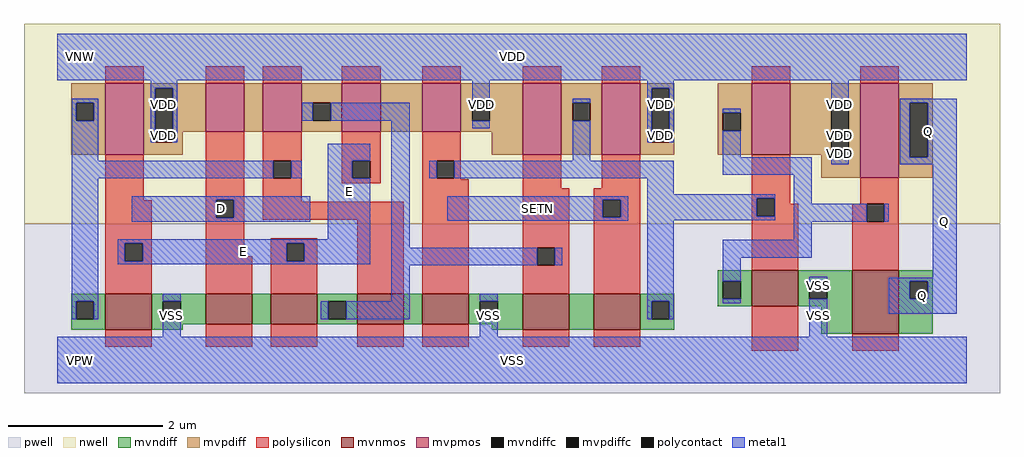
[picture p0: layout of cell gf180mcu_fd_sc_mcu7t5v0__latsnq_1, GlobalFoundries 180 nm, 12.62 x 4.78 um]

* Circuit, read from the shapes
.subckt gf180mcu_fd_sc_mcu7t5v0__latsnq_1 D E SETN Q VDD VNW VPW VSS
XM1 VSS E n1 VPW nfet_06v0 w=0.465u l=0.6u
XM2 n2 D VSS VPW nfet_06v0 w=0.395u l=0.6u
XM3 n3 E n2 VPW nfet_06v0 w=0.395u l=0.6u
XM4 n4 n1 n3 VPW nfet_06v0 w=0.395u l=0.6u
XM5 VSS n5 n4 VPW nfet_06v0 w=0.395u l=0.6u
XM6 n6 n3 VSS VPW nfet_06v0 w=0.465u l=0.6u
XM7 n5 SETN n6 VPW nfet_06v0 w=0.465u l=0.6u
XM8 VSS n5 n7 VPW nfet_06v0 w=0.465u l=0.6u
XM9 Q n7 VSS VPW nfet_06v0 w=0.82u l=0.6u
XM10 VDD E n1 VNW pfet_06v0 w=0.925u l=0.5u
XM11 n8 D VDD VNW pfet_06v0 w=0.63u l=0.5u
XM12 n3 n1 n8 VNW pfet_06v0 w=0.63u l=0.5u
XM13 n9 E n3 VNW pfet_06v0 w=0.63u l=0.5u
XM14 VDD n5 n9 VNW pfet_06v0 w=0.63u l=0.5u
XM15 n5 n3 VDD VNW pfet_06v0 w=0.925u l=0.5u
XM16 VDD SETN n5 VNW pfet_06v0 w=0.925u l=0.5u
XM17 VDD n5 n7 VNW pfet_06v0 w=0.925u l=0.5u
XM18 Q n7 VDD VNW pfet_06v0 w=1.22u l=0.5u
.ends

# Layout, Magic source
magic
tech gf180mcuD
magscale 1 10
<< nwell >>
rect -86 352 2438 870
<< pwell >>
rect -86 -86 2438 352
<< mvnmos >>
rect 124 79 244 172
rect 384 93 504 172
rect 552 93 672 172
rect 776 93 896 172
rect 944 93 1064 172
rect 1204 79 1324 172
rect 1388 79 1508 172
rect 1796 139 1916 232
rect 2056 68 2176 232
<< mvpmos >>
rect 124 531 224 716
rect 384 590 484 716
rect 532 590 632 716
rect 736 590 836 716
rect 944 590 1044 716
rect 1204 531 1304 716
rect 1408 531 1508 716
rect 1796 531 1896 716
rect 2076 472 2176 716
<< mvndiff >>
rect 1708 204 1796 232
rect 36 152 124 172
rect 36 106 49 152
rect 95 106 124 152
rect 36 79 124 106
rect 244 152 384 172
rect 244 106 273 152
rect 319 106 384 152
rect 244 93 384 106
rect 504 93 552 172
rect 672 152 776 172
rect 672 106 701 152
rect 747 106 776 152
rect 672 93 776 106
rect 896 93 944 172
rect 1064 152 1204 172
rect 1064 106 1093 152
rect 1139 106 1204 152
rect 1064 93 1204 106
rect 244 79 324 93
rect 1124 79 1204 93
rect 1324 79 1388 172
rect 1508 152 1596 172
rect 1508 106 1537 152
rect 1583 106 1596 152
rect 1708 158 1721 204
rect 1767 158 1796 204
rect 1708 139 1796 158
rect 1916 204 2056 232
rect 1916 158 1945 204
rect 1991 158 2056 204
rect 1916 139 2056 158
rect 1508 79 1596 106
rect 1976 68 2056 139
rect 2176 204 2264 232
rect 2176 158 2205 204
rect 2251 158 2264 204
rect 2176 68 2264 158
<< mvpdiff >>
rect 36 665 124 716
rect 36 619 49 665
rect 95 619 124 665
rect 36 531 124 619
rect 224 703 384 716
rect 224 563 253 703
rect 299 590 384 703
rect 484 590 532 716
rect 632 665 736 716
rect 632 619 661 665
rect 707 619 736 665
rect 632 590 736 619
rect 836 590 944 716
rect 1044 665 1204 716
rect 1044 619 1073 665
rect 1119 619 1204 665
rect 1044 590 1204 619
rect 299 563 324 590
rect 224 531 324 563
rect 1124 531 1204 590
rect 1304 665 1408 716
rect 1304 619 1333 665
rect 1379 619 1408 665
rect 1304 531 1408 619
rect 1508 703 1596 716
rect 1508 563 1537 703
rect 1583 563 1596 703
rect 1508 531 1596 563
rect 1708 639 1796 716
rect 1708 593 1721 639
rect 1767 593 1796 639
rect 1708 531 1796 593
rect 1896 665 2076 716
rect 1896 531 2001 665
rect 1976 525 2001 531
rect 2047 525 2076 665
rect 1976 472 2076 525
rect 2176 665 2264 716
rect 2176 525 2205 665
rect 2251 525 2264 665
rect 2176 472 2264 525
<< mvndiffc >>
rect 49 106 95 152
rect 273 106 319 152
rect 701 106 747 152
rect 1093 106 1139 152
rect 1537 106 1583 152
rect 1721 158 1767 204
rect 1945 158 1991 204
rect 2205 158 2251 204
<< mvpdiffc >>
rect 49 619 95 665
rect 253 563 299 703
rect 661 619 707 665
rect 1073 619 1119 665
rect 1333 619 1379 665
rect 1537 563 1583 703
rect 1721 593 1767 639
rect 2001 525 2047 665
rect 2205 525 2251 665
<< polysilicon >>
rect 124 716 224 760
rect 384 716 484 760
rect 532 716 632 760
rect 736 716 836 760
rect 944 716 1044 760
rect 1204 716 1304 760
rect 1408 716 1508 760
rect 1796 716 1896 760
rect 2076 716 2176 760
rect 124 413 224 531
rect 384 414 484 590
rect 124 302 244 413
rect 124 256 175 302
rect 221 256 244 302
rect 124 172 244 256
rect 384 368 411 414
rect 457 368 484 414
rect 384 268 484 368
rect 532 516 632 590
rect 532 470 559 516
rect 605 470 632 516
rect 532 409 632 470
rect 736 516 836 590
rect 736 470 763 516
rect 809 470 836 516
rect 736 457 836 470
rect 944 516 1044 590
rect 944 470 981 516
rect 1027 470 1044 516
rect 944 467 1044 470
rect 532 363 896 409
rect 552 302 672 315
rect 384 172 504 268
rect 552 256 593 302
rect 639 256 672 302
rect 552 172 672 256
rect 776 172 896 363
rect 944 172 1064 467
rect 1204 444 1304 531
rect 1408 444 1508 531
rect 1204 291 1324 444
rect 1204 245 1241 291
rect 1287 245 1324 291
rect 1204 172 1324 245
rect 1388 415 1508 444
rect 1388 369 1411 415
rect 1457 369 1508 415
rect 1388 172 1508 369
rect 1796 418 1896 531
rect 1796 372 1809 418
rect 1855 404 1896 418
rect 2076 404 2176 472
rect 1855 372 1916 404
rect 1796 232 1916 372
rect 2056 358 2093 404
rect 2139 358 2176 404
rect 2056 232 2176 358
rect 124 35 244 79
rect 384 35 504 93
rect 552 35 672 93
rect 776 35 896 93
rect 944 35 1064 93
rect 1204 35 1324 79
rect 1388 35 1508 79
rect 1796 24 1916 139
rect 2056 24 2176 68
<< polycontact >>
rect 175 256 221 302
rect 411 368 457 414
rect 559 470 605 516
rect 763 470 809 516
rect 981 470 1027 516
rect 593 256 639 302
rect 1241 245 1287 291
rect 1411 369 1457 415
rect 1809 372 1855 418
rect 2093 358 2139 404
<< metal1 >>
rect 0 724 2352 844
rect 242 703 310 724
rect 38 665 106 676
rect 38 619 49 665
rect 95 619 106 665
rect 38 516 106 619
rect 242 563 253 703
rect 299 563 310 703
rect 1073 665 1119 724
rect 1526 703 1594 724
rect 632 619 661 665
rect 707 619 912 665
rect 700 516 809 559
rect 38 470 559 516
rect 605 470 632 516
rect 700 470 763 516
rect 38 152 106 470
rect 193 414 654 424
rect 193 368 411 414
rect 457 368 654 414
rect 193 358 654 368
rect 700 312 809 470
rect 156 302 809 312
rect 156 256 175 302
rect 221 256 593 302
rect 639 256 809 302
rect 156 248 809 256
rect 864 291 912 619
rect 1073 600 1119 619
rect 1333 665 1379 676
rect 1333 516 1379 619
rect 1526 563 1537 703
rect 1583 563 1594 703
rect 2001 665 2047 724
rect 1721 639 1767 650
rect 1721 525 1767 593
rect 962 470 981 516
rect 1027 470 1594 516
rect 1721 479 1951 525
rect 2001 506 2047 525
rect 2179 665 2326 676
rect 2179 525 2205 665
rect 2251 525 2326 665
rect 2179 506 2326 525
rect 1526 429 1594 470
rect 1008 415 1476 424
rect 1008 369 1411 415
rect 1457 369 1476 415
rect 1008 360 1476 369
rect 1526 418 1857 429
rect 1526 372 1809 418
rect 1855 372 1857 418
rect 1526 361 1857 372
rect 1905 404 1951 479
rect 864 245 1241 291
rect 1287 245 1306 291
rect 38 106 49 152
rect 95 106 106 152
rect 273 152 319 172
rect 864 152 912 245
rect 682 106 701 152
rect 747 106 912 152
rect 1093 152 1139 172
rect 1526 152 1594 361
rect 1905 358 2093 404
rect 2139 358 2150 404
rect 1905 311 1951 358
rect 1526 106 1537 152
rect 1583 106 1594 152
rect 1721 265 1951 311
rect 1721 204 1767 265
rect 1721 147 1767 158
rect 1945 204 1991 215
rect 2264 213 2326 506
rect 273 60 319 106
rect 1093 60 1139 106
rect 1945 60 1991 158
rect 2150 204 2326 213
rect 2150 158 2205 204
rect 2251 158 2326 204
rect 2150 120 2326 158
rect 0 -60 2352 60
<< labels >>
flabel metal1 s 2179 506 2326 676 0 FreeSans 400 0 0 0 Q
port 4 nsew default output
flabel metal1 s 1945 172 1991 215 0 FreeSans 400 0 0 0 VSS
port 8 nsew ground bidirectional abutment
flabel metal1 s 1008 360 1476 424 0 FreeSans 400 0 0 0 SETN
port 3 nsew default input
flabel metal1 s 0 724 2352 844 0 FreeSans 400 0 0 0 VDD
port 5 nsew power bidirectional abutment
flabel metal1 s 193 358 654 424 0 FreeSans 400 0 0 0 D
port 1 nsew default input
flabel metal1 s 700 312 809 559 0 FreeSans 400 0 0 0 E
port 2 nsew clock input
flabel nwell s 10 734 110 834 0 FreeSans 400 0 0 0 VNW
port 6 nsew power bidirectional
flabel pwell s 10 -50 110 50 0 FreeSans 400 0 0 0 VPW
port 7 nsew ground bidirectional
rlabel metal1 s 156 248 809 312 1 E
port 2 nsew clock input
rlabel metal1 s 2264 213 2326 506 1 Q
port 4 nsew default output
rlabel metal1 s 2150 120 2326 213 1 Q
port 4 nsew default output
rlabel metal1 s 2001 600 2047 724 1 VDD
port 5 nsew power bidirectional abutment
rlabel metal1 s 1526 600 1594 724 1 VDD
port 5 nsew power bidirectional abutment
rlabel metal1 s 1073 600 1119 724 1 VDD
port 5 nsew power bidirectional abutment
rlabel metal1 s 242 600 310 724 1 VDD
port 5 nsew power bidirectional abutment
rlabel metal1 s 2001 563 2047 600 1 VDD
port 5 nsew power bidirectional abutment
rlabel metal1 s 1526 563 1594 600 1 VDD
port 5 nsew power bidirectional abutment
rlabel metal1 s 242 563 310 600 1 VDD
port 5 nsew power bidirectional abutment
rlabel metal1 s 2001 506 2047 563 1 VDD
port 5 nsew power bidirectional abutment
rlabel metal1 s 1945 60 1991 172 1 VSS
port 8 nsew ground bidirectional abutment
rlabel metal1 s 1093 60 1139 172 1 VSS
port 8 nsew ground bidirectional abutment
rlabel metal1 s 273 60 319 172 1 VSS
port 8 nsew ground bidirectional abutment
rlabel metal1 s 0 -60 2352 60 1 VSS
port 8 nsew ground bidirectional abutment
<< properties >>
string FIXED_BBOX 0 0 2352 784
string GDS_END 646628
string GDS_FILE $PDKPATH/libs.ref/gf180mcu_fd_sc_mcu7t5v0/gds/gf180mcu_fd_sc_mcu7t5v0.gds
string GDS_START 641042
string LEFclass core
string LEFsite GF018hv5v_mcu_sc7
string LEFsymmetry X Y
<< end >>
